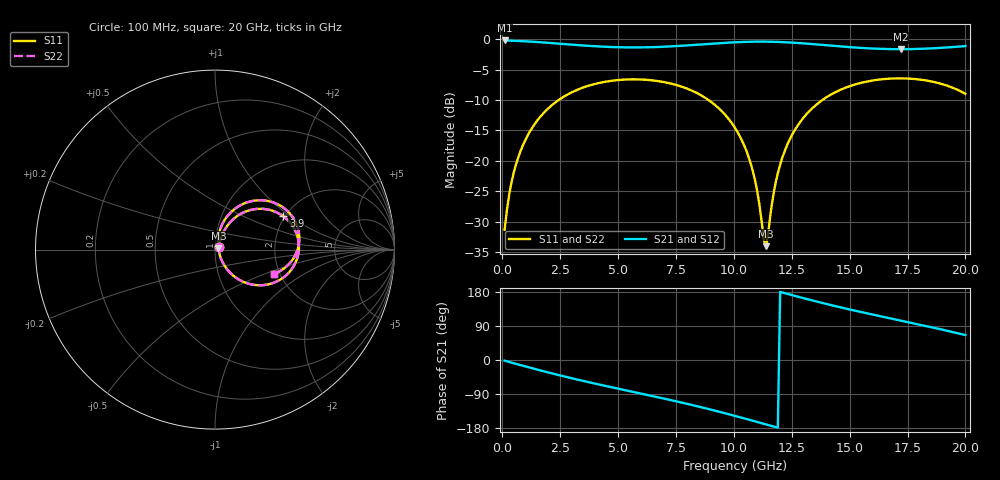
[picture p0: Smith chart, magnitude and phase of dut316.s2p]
! Touchstone file exported from HFSS 2026.1.0
!  File:  C:/ffzhzh/LocalFiles/Ansys_Project_Files/temp_train_TSV_RDL_316_1783030460_4048.aedt
!  Generated:  06:28:06 AM Jul  3, 2026
!  Design:  TSV_RDL
!  Project:  temp_train_TSV_RDL_316_1783030460_4048
! Variables:
!  h_bsmrdl = 4.84um
!  h_ox = 20um
!  h_rdl = 5um
!  h_sub = 90.67um
!  h_tmrdl = 2.86um
!  h_tsv = 90.67um
!  h_via = 3um
!  l_bsmrdl = 510.19um
!  l_sub = 4768.48um
!  l_tmrdl = 674.64um
!  m_sub = 200um
!  pitch = 50.64um
!  r_tsv = 13.9um
!  s_tmrdl = 10um
!  w_bsmrdl = 26.12um
!  w_sub = 500um
!  w_tmrdl = 20.33um
!  x_tsv_center1 = 684.805um
!  x_tsv_center2 = 1221.115um
!  x_tsv_center3 = 1916.085um
!  x_tsv_center4 = 2452.395um
!  x_tsv_center5 = 3147.365um
!  x_tsv_center6 = 3683.675um
# GHz S MA R 50.000000
! Terminal data exported
! Port[1] = TM_RDL1_1_T1
! Port[2] = TM_RDL5_1_T1
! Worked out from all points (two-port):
!   200 points, 100 MHz to 20 GHz, reference 50 ohm
!   highest |S21| = -0.19 dB at 100 MHz (marker M1); lowest = -1.6 dB at 17.2 GHz (marker M2)
!   |S21| within 3 dB of the highest: start of sweep to end of sweep
!   lowest |S11| = -34.0 dB at 11.4 GHz (marker M3), VSWR 1.04, Z = 51.9 + j0.698 ohm
!   |S11| at or under -10 dB: start of sweep to 2.432 GHz; 8.909 GHz to 13.82 GHz (4.912 GHz wide, 43.2 % of centre)
!   |S22| runs from -34.1 to -6.4 dB; largest |S21 - S12| = 1.7e-14
!   S11 on the Smith chart (normalised r, x): 100 MHz: 1.04, +0.03; 3.9 GHz: 1.97, +0.89; 20 GHz: 1.87, -0.58
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0.1  0.02705 35.5  0.9783 -1.8  0.9783 -1.8  0.02705 35.5
! Gamma 0 0 0 0
! Port Impedance 50 0 50 0
0.3  0.05297 58.5  0.9754 -5.3  0.9754 -5.3  0.05297 58.5
0.5  0.08075 63.3  0.9721 -8.7  0.9721 -8.7  0.08075 63.3
1.1  0.1621 61.8  0.9604 -18.7  0.9604 -18.7  0.1621 61.8
2.1  0.2825 49.9  0.9322 -34.7  0.9322 -34.7  0.2825 49.9
3.5  0.4014 31.1  0.8891 -55.3  0.8891 -55.3  0.4014 31.1
3.9  0.4241 25.9  0.879 -60.9  0.879 -60.9  0.4241 25.9
6.8  0.4507 -10.8  0.8657 -99.3  0.8657 -99.3  0.4507 -10.8
8.8  0.3267 -37.4  0.9132 -127.7  0.9132 -127.7  0.3266 -37.4
10.1  0.18 -54.7  0.9461 -148.3  0.9461 -148.3  0.18 -54.7
10.8  0.08511 -59.1  0.9555 -160.0  0.9555 -160.0  0.08509 -59.1
11.1  0.04413 -51.1  0.9568 -165.1  0.9568 -165.1  0.04409 -51.1
11.3  0.02206 -18.9  0.9567 -168.5  0.9567 -168.5  0.02201 -18.9
11.4  0.01984 19.8  0.9563 -170.2  0.9563 -170.2  0.01979 19.9
11.7  0.0516 70.8  0.954 -175.2  0.954 -175.2  0.0516 70.9
12.1  0.1069 75.9  0.9482 178.0  0.9482 178.0  0.1069 75.9
12.7  0.1876 70.8  0.9345 168.1  0.9345 168.1  0.1877 70.8
13.4  0.2721 61.8  0.9133 157.0  0.9133 157.0  0.2721 61.8
14.9  0.4047 41.7  0.8647 134.8  0.8647 134.8  0.4047 41.7
16.7  0.4742 19.1  0.8309 110.7  0.8309 110.7  0.4742 19.1
17.2  0.4772 12.9  0.8292 104.2  0.8292 104.2  0.4772 12.9
20  0.3557 -22.3  0.8794 65.7  0.8794 65.7  0.3557 -22.3
